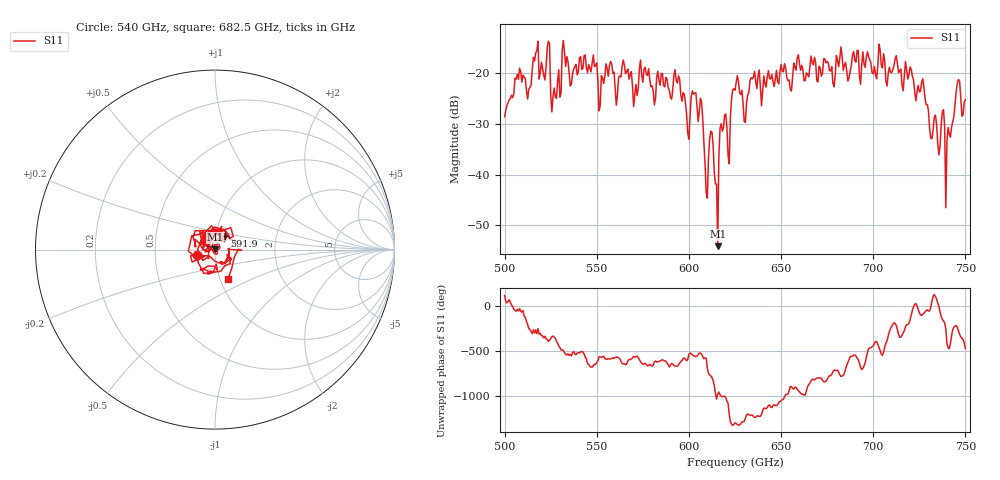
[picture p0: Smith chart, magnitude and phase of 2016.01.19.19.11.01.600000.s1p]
!Created with skrf (http://scikit-rf.org).
# GHz S RI R 50.0
!freq ReS11 ImS11
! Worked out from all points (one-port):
!   401 points, 500 GHz to 750 GHz, reference 50 ohm
!   lowest |S11| = -54.1 dB at 615.6 GHz (marker M1), VSWR 1.00, Z = 50 + j0.195 ohm
!   |S11| at or under -10 dB: start of sweep to end of sweep
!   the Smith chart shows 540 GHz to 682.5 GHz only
!   S11 on the Smith chart (normalised r, x): 540 GHz: 0.82, -0.05; 591.9 GHz: 1.10, +0.17; 682.5 GHz: 1.09, -0.37
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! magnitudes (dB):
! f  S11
! 500 GHz  -28.6
! 513.1 GHz  -23.1
! 516.9 GHz  -16.0
! 523.8 GHz  -13.7
! 526.9 GHz  -22.9
! 531.2 GHz  -15.5
! 540 GHz  -19.7
! 562.5 GHz  -20.6
! 591.9 GHz  -20.4
! 593.8 GHz  -22.0
! 599.4 GHz  -31.8
! 603.1 GHz  -24.0
! 606.9 GHz  -25.7
! 609.4 GHz  -43.5
! 611.9 GHz  -31.4
! 615.6 GHz  -54.1
! 618.1 GHz  -31.4
! 621.9 GHz  -37.9
! 625 GHz  -23.4
! 630.6 GHz  -29.7
! 634.4 GHz  -21.2
! 656.2 GHz  -20.8
! 682.5 GHz  -14.8
! 687.5 GHz  -19.6
! 718.8 GHz  -21.2
! 740.6 GHz  -30.7
! 745.6 GHz  -22.0
! 750 GHz  -25.3
